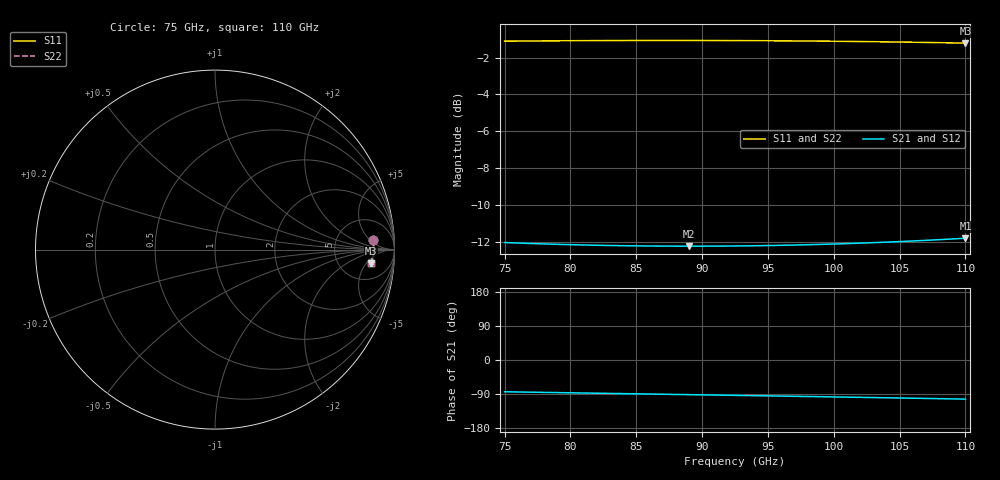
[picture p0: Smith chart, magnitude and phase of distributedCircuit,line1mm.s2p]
# HZ S RI R 50
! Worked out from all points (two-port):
!   101 points, 75 GHz to 110 GHz, reference 50 ohm
!   highest |S21| = -11.82 dB at 110 GHz (marker M1); lowest = -12.3 dB at 89 GHz (marker M2)
!   |S21| within 3 dB of the highest: start of sweep to end of sweep
!   lowest |S11| = -1.2 dB at 110 GHz (marker M3), VSWR 14.38, Z = 514 - j323 ohm
!   |S11| at or under -10 dB: nowhere
!   |S22| runs from -1.2 to -1.1 dB; largest |S21 - S12| = 0
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7.5e10  0.8789 0.0526  0.0269 -0.2482  0.0269 -0.2482  0.8789 0.0526
7.64e10  0.8802 0.0474  0.0234 -0.2475  0.0234 -0.2475  0.8802 0.0474
7.78e10  0.8812 0.0421  0.02 -0.2468  0.02 -0.2468  0.8812 0.0421
7.92e10  0.8821 0.0369  0.0166 -0.2462  0.0166 -0.2462  0.8821 0.0369
8.095e10  0.8831 0.0304  0.0125 -0.2456  0.0125 -0.2456  0.8831 0.0304
8.235e10  0.8837 0.0252  0.0092 -0.2451  0.0092 -0.2451  0.8837 0.0252
8.375e10  0.8841 0.02  0.00595 -0.2447  0.00595 -0.2447  0.8841 0.02
8.515e10  0.8845 0.0149  0.00272 -0.2444  0.00272 -0.2444  0.8845 0.0149
8.69e10  0.8847 0.0084  -0.00131 -0.2442  -0.00131 -0.2442  0.8847 0.0084
8.9e10  0.8846 0.000664  -0.00612 -0.2439  -0.00612 -0.2439  0.8846 0.000664
9.075e10  0.8844 -0.00577  -0.0101 -0.2439  -0.0101 -0.2439  0.8844 -0.00577
9.25e10  0.8839 -0.0122  -0.0142 -0.2439  -0.0142 -0.2439  0.8839 -0.0122
9.39e10  0.8833 -0.0173  -0.0174 -0.244  -0.0174 -0.244  0.8833 -0.0173
9.565e10  0.8825 -0.0238  -0.0215 -0.2443  -0.0215 -0.2443  0.8825 -0.0238
9.845e10  0.8806 -0.034  -0.0282 -0.2449  -0.0282 -0.2449  0.8806 -0.034
1.002e11  0.8792 -0.0405  -0.0325 -0.2453  -0.0325 -0.2453  0.8792 -0.0405
1.016e11  0.8779 -0.0456  -0.036 -0.2458  -0.036 -0.2458  0.8779 -0.0456
1.044e11  0.8748 -0.0559  -0.0431 -0.2469  -0.0431 -0.2469  0.8748 -0.0559
1.058e11  0.873 -0.061  -0.0468 -0.2475  -0.0468 -0.2475  0.873 -0.061
1.072e11  0.871 -0.0662  -0.0506 -0.2482  -0.0506 -0.2482  0.871 -0.0662
1.086e11  0.8689 -0.0713  -0.0545 -0.2489  -0.0545 -0.2489  0.8689 -0.0713
1.1e11  0.8666 -0.0764  -0.0585 -0.2497  -0.0585 -0.2497  0.8666 -0.0764
